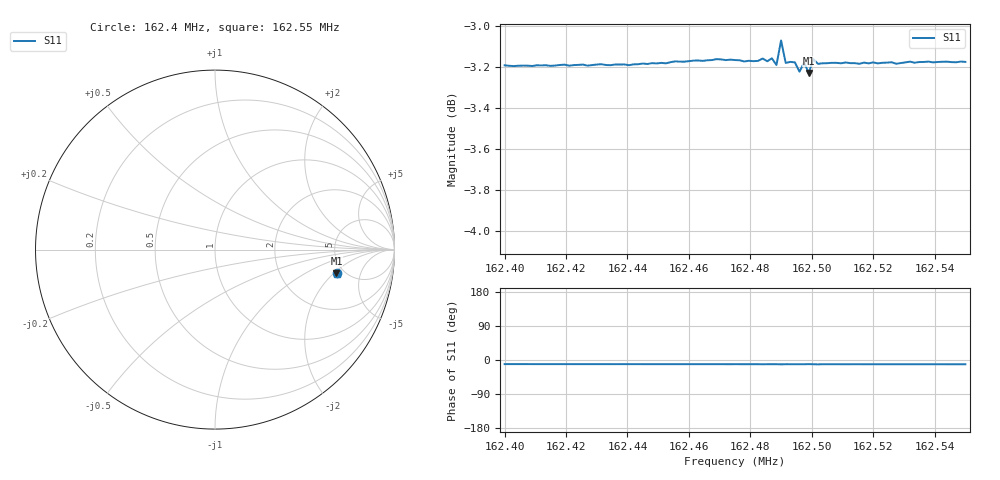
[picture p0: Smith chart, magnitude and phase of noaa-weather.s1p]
! Calibrated averaged scanner-service zoom
# Hz S RI R 50
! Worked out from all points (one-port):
!   101 points, 162.4 MHz to 162.55 MHz, reference 50 ohm
!   lowest |S11| = -3.2 dB at 162.499 MHz (marker M1), VSWR 5.44, Z = 216 - j107 ohm
!   |S11| at or under -10 dB: nowhere
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1.624e8  0.68 -0.1301
1.624195e8  0.6802 -0.1308
1.62421e8  0.6797 -0.1309
1.624375e8  0.6801 -0.1316
1.624405e8  0.6798 -0.1317
1.62457e8  0.6811 -0.1324
1.62469e8  0.6819 -0.133
1.62475e8  0.6815 -0.1332
1.624825e8  0.6811 -0.1334
1.62484e8  0.6817 -0.1355
1.624855e8  0.681 -0.1336
1.62487e8  0.6821 -0.134
1.624885e8  0.6797 -0.1327
1.6249e8  0.688 -0.1401
1.624915e8  0.6803 -0.1335
1.624945e8  0.6805 -0.1337
1.62496e8  0.6769 -0.1334
1.624975e8  0.6803 -0.134
1.62499e8  0.6769 -0.1305
1.625005e8  0.6815 -0.1353
1.62502e8  0.6789 -0.1387
1.625035e8  0.6801 -0.1339
1.625125e8  0.6801 -0.1344
1.62526e8  0.6804 -0.1346
1.625275e8  0.6798 -0.1345
1.62532e8  0.6806 -0.1349
1.625335e8  0.6801 -0.135
1.6255e8  0.6803 -0.1357
